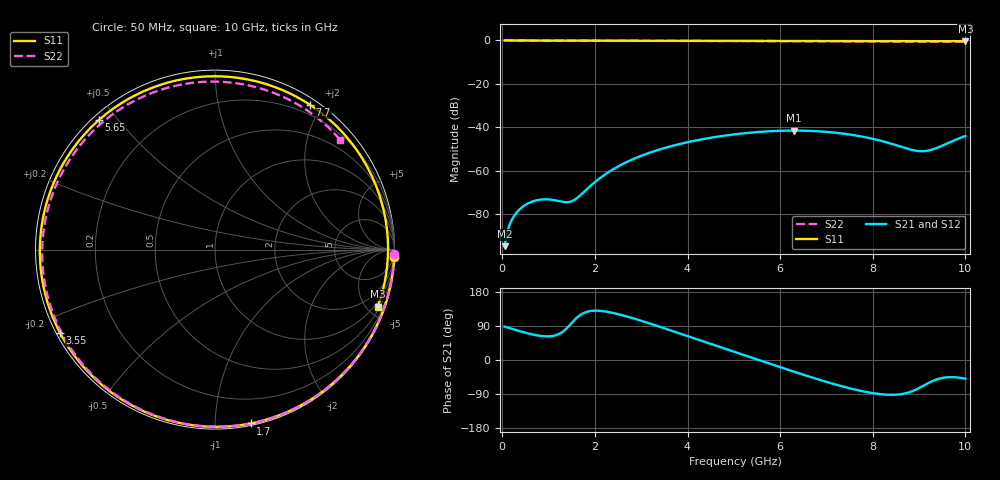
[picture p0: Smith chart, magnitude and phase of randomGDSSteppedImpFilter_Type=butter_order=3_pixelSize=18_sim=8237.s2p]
! freq	dB(S11)	phase(S11)	dB(S12)	phase(S12)
!  dB(S21)	phase(S21)	dB(S22)	phase(S22)
!S-par simulation data
#  GHz  S  DB  R 50
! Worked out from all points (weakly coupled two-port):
!   200 points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, 50 MHz to 10 GHz, reference 50 ohm
!   highest |S21| = -41.44 dB at 6.3 GHz (marker M1); lowest = -94.6 dB at 50 MHz (marker M2)
!   lowest |S11| = -0.3 dB at 10 GHz (marker M3), VSWR 49.82, Z = 35.3 - j290 ohm
!   |S11| at or under -10 dB: nowhere
!   |S22| runs from -0.7 to 0.0 dB; largest |S21 - S12| = 0
!   S11 on the Smith chart (normalised r, x): 50 MHz: 0, -47; 1.7 GHz: 0.01, -1.23; 3.55 GHz: 0.01, -0.25; 5.65 GHz: 0.02, +0.45; 7.7 GHz: 0.08, +1.85; 10 GHz: 0.71, -5.81
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0.05  -0.00 -2.4  -94.59 88.1  -94.59 88.1  -0.00 -1.5
0.25  -0.02 -12.0  -80.85 80.6  -80.85 80.6  -0.01 -7.3
0.6  -0.04 -28.6  -74.48 68.8  -74.48 68.8  -0.02 -17.6
0.95  -0.06 -44.9  -73.05 62.4  -73.05 62.4  -0.04 -27.7
1.45  -0.08 -67.5  -74.24 91.1  -74.24 91.1  -0.05 -42.1
1.7  -0.10 -78.4  -70.89 120.1  -70.89 120.1  -0.06 -49.1
1.75  -0.10 -80.6  -69.90 123.5  -69.90 123.5  -0.06 -50.6
2.1  -0.11 -95.3  -63.44 129.8  -63.44 129.8  -0.08 -60.4
2.45  -0.13 -109.5  -58.53 122.5  -58.53 122.5  -0.09 -70.1
3.4  -0.17 -146.2  -50.10 87.7  -50.10 87.7  -0.13 -96.0
3.55  -0.18 -151.7  -49.17 81.6  -49.17 81.6  -0.13 -100.1
4.3  -0.21 -179.1  -45.49 50.7  -45.49 50.7  -0.17 -120.3
5.05  -0.25 153.8  -43.08 20.0  -43.08 20.0  -0.22 -140.8
5.65  -0.27 132.0  -41.91 -4.6  -41.91 -4.6  -0.26 -157.8
6.3  -0.29 108.2  -41.44 -30.9  -41.44 -30.9  -0.32 -177.1
6.7  -0.30 93.4  -41.63 -46.6  -41.63 -46.6  -0.36 170.4
7.2  -0.31 75.0  -42.44 -64.9  -42.44 -64.9  -0.41 153.8
7.7  -0.31 56.7  -43.94 -80.4  -43.94 -80.4  -0.47 136.1
8.35  -0.31 33.6  -47.18 -91.8  -47.18 -91.8  -0.53 111.1
9.1  -0.31 8.4  -50.91 -67.4  -50.91 -67.4  -0.59 80.0
9.55  -0.32 -5.8  -47.91 -46.3  -47.91 -46.3  -0.62 60.6
10  -0.35 -19.3  -43.90 -49.3  -43.90 -49.3  -0.65 41.1
